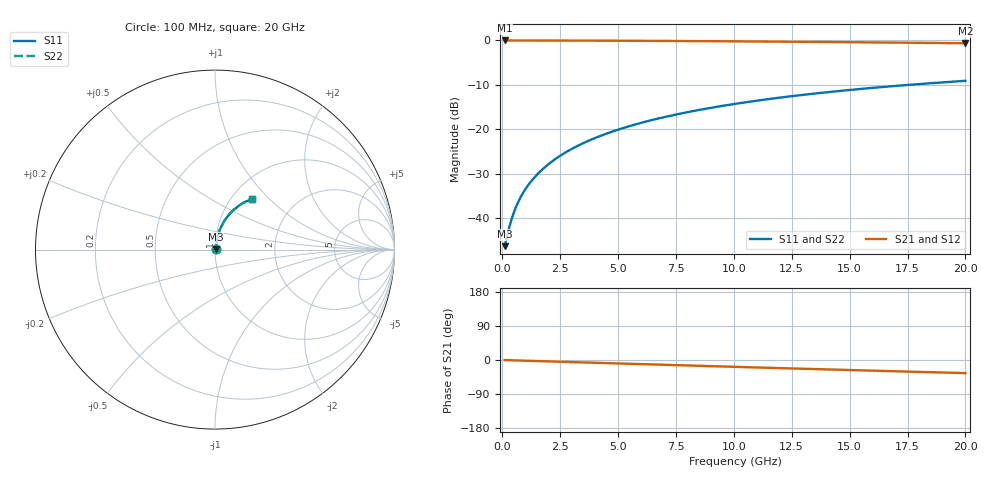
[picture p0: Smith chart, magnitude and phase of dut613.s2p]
! Touchstone file exported from HFSS 2026.1.0
!  File:  C:/ffzhzh/LocalFiles/Ansys_Project_Files/temp_train_TMRDL_613_1783008835_51716.aedt
!  Generated:  12:15:25 AM Jul  3, 2026
!  Design:  TMRDL
!  Project:  temp_train_TMRDL_613_1783008835_51716
! Variables:
!  h_bsmrdl = 2um
!  h_ox = 20um
!  h_rdl = 5um
!  h_sub = 80um
!  h_tmrdl = 2.18um
!  h_tsv = 80um
!  h_via = 3um
!  l_bsmrdl = 300um
!  l_sub = 868.56um
!  l_tmrdl = 468.56um
!  m_sub = 200um
!  pitch = 44um
!  r_tsv = 6um
!  s_tmrdl = 10um
!  w_bsmrdl = 18um
!  w_sub = 500um
!  w_tmrdl = 18.86um
!  x_tsv_center1 = 477.99um
!  x_tsv_center2 = 795.99um
!  x_tsv_center3 = 1283.41um
!  x_tsv_center4 = 1601.41um
!  x_tsv_center5 = 2088.83um
!  x_tsv_center6 = 2406.83um
# GHz S MA R 50.000000
! Terminal data exported
! Port[1] = TM_RDL1_1_T1
! Port[2] = TM_RDL1_1_T2
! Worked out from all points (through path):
!   200 points, 100 MHz to 20 GHz, reference 50 ohm
!   highest |S21| = -0.04 dB at 100 MHz (marker M1); lowest = -0.7 dB at 20 GHz (marker M2)
!   group delay of S21, straight-line fit = 4.81 ps
!   lowest |S11| = -46.3 dB at 100 MHz (marker M3), VSWR 1.01, Z = 50.4 + j0.218 ohm
!   |S11| at or under -10 dB: start of sweep to 17.62 GHz
!   |S22| runs from -46.3 to -9.1 dB; largest |S21 - S12| = 4.6e-15
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0.1  0.004834 26.5  0.9957 -0.2  0.9957 -0.2  0.004834 26.5
! Gamma 0 0 0 0
! Port Impedance 50 0 50 0
0.3  0.007862 54.6  0.9955 -0.6  0.9955 -0.6  0.007862 54.6
0.4  0.009705 60.9  0.9954 -0.8  0.9954 -0.8  0.009705 60.9
0.5  0.0116 65.0  0.9952 -1.0  0.9952 -1.0  0.0116 65.0
0.6  0.01352 67.8  0.9951 -1.1  0.9951 -1.1  0.01352 67.8
0.7  0.01543 69.9  0.9949 -1.3  0.9949 -1.3  0.01543 69.9
0.9  0.01927 72.8  0.9947 -1.7  0.9947 -1.7  0.01927 72.8
1.2  0.02504 75.5  0.9944 -2.2  0.9944 -2.2  0.02504 75.5
1.4  0.0289 76.6  0.9942 -2.6  0.9942 -2.6  0.0289 76.6
1.7  0.03471 77.7  0.9939 -3.1  0.9939 -3.1  0.0347 77.7
2.2  0.04442 78.6  0.9934 -4.0  0.9934 -4.0  0.04442 78.6
2.8  0.05611 78.9  0.9927 -5.1  0.9927 -5.1  0.05611 79.0
3.5  0.06975 78.7  0.9917 -6.4  0.9917 -6.4  0.06975 78.7
4.2  0.08334 78.2  0.9905 -7.7  0.9905 -7.7  0.08334 78.2
5  0.09879 77.3  0.9889 -9.1  0.9889 -9.1  0.09879 77.3
5.9  0.116 76.1  0.9869 -10.7  0.9869 -10.7  0.116 76.1
6.8  0.1331 74.8  0.9845 -12.4  0.9845 -12.4  0.1331 74.8
8.3  0.161 72.5  0.9799 -15.0  0.9799 -15.0  0.161 72.5
10.1  0.1936 69.6  0.9735 -18.2  0.9735 -18.2  0.1936 69.6
13.4  0.2502 64.2  0.9597 -23.8  0.9597 -23.8  0.2502 64.3
16.7  0.3025 58.9  0.9437 -29.3  0.9437 -29.3  0.3025 59.0
20  0.35 53.7  0.9266 -34.6  0.9266 -34.6  0.35 53.8
